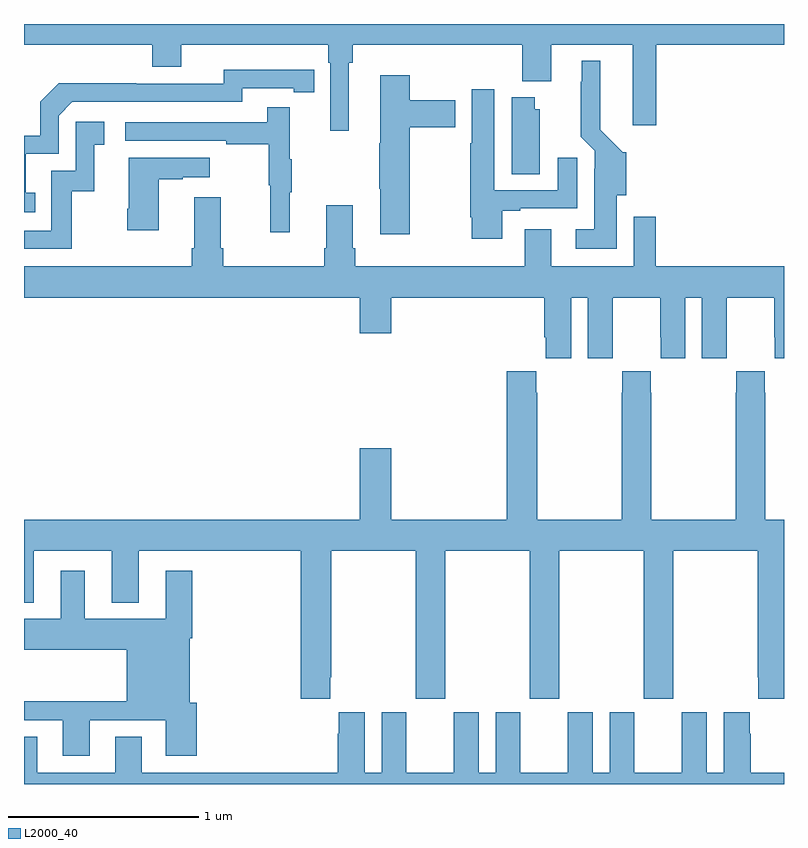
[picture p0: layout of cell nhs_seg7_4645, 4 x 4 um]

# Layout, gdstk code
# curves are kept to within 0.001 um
import gdstk
lib = gdstk.Library(unit=1e-6, precision=1e-09)
def P(c, l, *ps):  # polygons
    for p in ps: c.add(gdstk.Polygon(p, *l))
L2000_40 = (2000, 40)

nhs_seg7_4645 = lib.new_cell('nhs_seg7_4645')
P(nhs_seg7_4645, L2000_40, [(404.71,1057.796),(404.729,1057.796),(404.729,1057.892),(405.623,1057.892),(405.623,1057.7),(405.775,1057.7),(405.775,1057.892),(406.205,1057.892),(406.205,1057.467),(406.328,1057.467),(406.328,1057.892),(407,1057.892),(407,1058),(403,1058),(403,1057.892),(403.676,1057.892),(403.676,1057.775),(403.828,1057.775),(403.828,1057.892),(404.6,1057.892),(404.6,1057.796),(404.613,1057.796),(404.613,1057.437),(404.71,1057.437)],
  [(406.12,1057.098),(406.171,1057.098),(406.171,1057.326),(406.151,1057.326),(406.033,1057.444),(406.033,1057.807),(405.935,1057.807),(405.935,1057.697),(405.931,1057.697),(405.931,1057.406),(406.005,1057.332),(406.005,1057.238),(406.001,1057.238),(406.001,1056.919),(405.903,1056.919),(405.903,1056.818),(406.12,1056.818)],
  [(403.058,1057.113),(403.009,1057.113),(403.009,1057.317),(403.182,1057.317),(403.182,1057.518),(403.254,1057.59),(404.148,1057.59),(404.148,1057.662),(404.42,1057.662),(404.42,1057.642),(404.528,1057.642),(404.528,1057.758),(404.052,1057.759),(404.052,1057.686),(403.592,1057.686),(403.592,1057.688),(403.184,1057.688),(403.086,1057.59),(403.086,1057.413),(403,1057.413),(403,1057.008),(403.058,1057.008)],
  [(405.03,1057.457),(405.271,1057.457),(405.271,1057.599),(405.03,1057.599),(405.03,1057.729),(404.876,1057.729),(404.876,1057.373),(404.869,1057.373),(404.869,1057.132),(404.876,1057.132),(404.876,1056.894),(405.03,1056.894)],
  [(405.517,1057.017),(405.613,1057.017),(405.613,1057.029),(405.913,1057.029),(405.913,1057.297),(405.809,1057.297),(405.809,1057.125),(405.475,1057.125),(405.475,1057.657),(405.356,1057.657),(405.356,1057.373),(405.349,1057.373),(405.349,1056.982),(405.356,1056.982),(405.356,1056.87),(405.517,1056.87)],
  [(405.715,1057.551),(405.688,1057.551),(405.688,1057.615),(405.566,1057.615),(405.566,1057.21),(405.715,1057.21)],
  [(404.399,1057.115),(404.41,1057.115),(404.41,1057.289),(404.399,1057.289),(404.399,1057.561),(404.281,1057.561),(404.281,1057.482),(403.533,1057.482),(403.533,1057.386),(404.065,1057.386),(404.065,1057.366),(404.289,1057.366),(404.289,1057.152),(404.296,1057.152),(404.296,1056.903),(404.399,1056.903)],
  [(403.252,1057.119),(403.37,1057.119),(403.37,1057.365),(403.423,1057.365),(403.423,1057.486),(403.272,1057.486),(403.272,1057.227),(403.143,1057.227),(403.143,1056.912),(403,1056.912),(403,1056.816),(403.252,1056.816)],
  [(403.708,1057.183),(403.835,1057.183),(403.835,1057.193),(403.978,1057.193),(403.978,1057.297),(403.55,1057.297),(403.55,1057.027),(403.543,1057.027),(403.543,1056.915),(403.708,1056.915)],
  [(405.88,1056.56),(405.968,1056.56),(405.968,1056.24),(406.098,1056.24),(406.098,1056.352),(406.099,1056.352),(406.099,1056.56),(406.349,1056.56),(406.349,1056.352),(406.35,1056.352),(406.35,1056.24),(406.48,1056.24),(406.48,1056.56),(406.568,1056.56),(406.568,1056.24),(406.698,1056.24),(406.698,1056.352),(406.699,1056.352),(406.699,1056.56),(406.949,1056.56),(406.949,1056.352),(406.95,1056.352),(406.95,1056.24),(407,1056.24),(407,1056.724),(406.325,1056.724),(406.325,1056.985),(406.209,1056.985),(406.209,1056.724),(405.775,1056.724),(405.775,1056.919),(405.635,1056.919),(405.635,1056.724),(404.744,1056.724),(404.744,1056.82),(404.731,1056.82),(404.731,1057.045),(404.591,1057.045),(404.591,1056.82),(404.579,1056.82),(404.579,1056.724),(404.048,1056.724),(404.048,1056.82),(404.035,1056.82),(404.035,1057.087),(403.895,1057.087),(403.895,1056.82),(403.883,1056.82),(403.883,1056.724),(403,1056.724),(403,1056.56),(404.768,1056.56),(404.768,1056.372),(404.932,1056.372),(404.932,1056.56),(405.737,1056.56),(405.737,1056.352),(405.746,1056.352),(405.746,1056.24),(405.88,1056.24)],
  [(404.611,1054.561),(404.616,1054.561),(404.616,1055.228),(405.061,1055.228),(405.061,1054.449),(405.216,1054.449),(405.216,1055.228),(405.661,1055.228),(405.661,1054.449),(405.816,1054.449),(405.816,1055.228),(406.261,1055.228),(406.261,1054.449),(406.416,1054.449),(406.416,1055.228),(406.861,1055.228),(406.861,1054.561),(406.865,1054.561),(406.865,1054.449),(407,1054.449),(407,1055.392),(406.902,1055.392),(406.902,1056.059),(406.899,1056.059),(406.899,1056.172),(406.749,1056.172),(406.749,1056.059),(406.747,1056.059),(406.747,1055.392),(406.302,1055.392),(406.302,1056.059),(406.299,1056.059),(406.299,1056.172),(406.149,1056.172),(406.149,1056.059),(406.147,1056.059),(406.147,1055.392),(405.702,1055.392),(405.702,1056.059),(405.695,1056.059),(405.695,1056.172),(405.542,1056.172),(405.542,1055.392),(404.932,1055.392),(404.932,1055.767),(404.768,1055.767),(404.768,1055.392),(403,1055.392),(403,1054.955),(403.051,1054.955),(403.051,1055.228),(403.463,1055.228),(403.463,1054.955),(403.603,1054.955),(403.603,1055.228),(404.456,1055.228),(404.456,1054.449),(404.611,1054.449)],
  [(403.345,1054.335),(403.745,1054.335),(403.745,1054.149),(403.91,1054.149),(403.91,1054.428),(403.873,1054.428),(403.873,1054.766),(403.886,1054.766),(403.886,1055.122),(403.745,1055.122),(403.745,1054.87),(403.321,1054.87),(403.321,1055.122),(403.193,1055.122),(403.193,1054.87),(403,1054.87),(403,1054.706),(403.541,1054.706),(403.541,1054.436),(403,1054.436),(403,1054.335),(403.205,1054.335),(403.205,1054.149),(403.345,1054.149)],
  [(407,1054.06),(406.826,1054.06),(406.826,1054.265),(406.819,1054.265),(406.819,1054.378),(406.682,1054.378),(406.682,1054.06),(406.594,1054.06),(406.594,1054.378),(406.463,1054.378),(406.463,1054.06),(406.213,1054.06),(406.213,1054.378),(406.082,1054.378),(406.082,1054.06),(405.994,1054.06),(405.994,1054.378),(405.863,1054.378),(405.863,1054.06),(405.613,1054.06),(405.613,1054.378),(405.482,1054.378),(405.482,1054.06),(405.394,1054.06),(405.394,1054.378),(405.263,1054.378),(405.263,1054.06),(405.013,1054.06),(405.013,1054.378),(404.882,1054.378),(404.882,1054.06),(404.794,1054.06),(404.794,1054.378),(404.657,1054.378),(404.657,1054.265),(404.651,1054.265),(404.651,1054.06),(403.621,1054.06),(403.621,1054.25),(403.481,1054.25),(403.481,1054.06),(403.069,1054.06),(403.069,1054.25),(403,1054.25),(403,1054),(407,1054)])

lib.write_gds('nhs_seg7_4645.gds')
